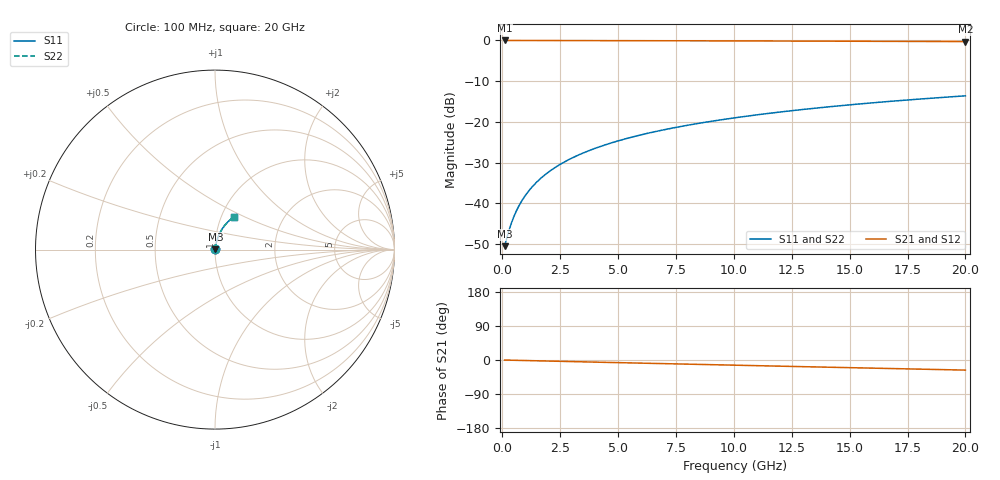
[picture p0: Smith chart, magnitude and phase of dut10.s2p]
! Touchstone file exported from HFSS 2026.1.0
!  File:  C:/ffzhzh/LocalFiles/Ansys_Project_Files/temp_val_TMRDL_10_1782902782_8056.aedt
!  Generated:  06:47:45 PM Jul  1, 2026
!  Design:  TMRDL
!  Project:  temp_val_TMRDL_10_1782902782_8056
! Variables:
!  h_bsmrdl = 2um
!  h_ox = 20um
!  h_rdl = 5um
!  h_sub = 80um
!  h_tmrdl = 5.09um
!  h_tsv = 80um
!  h_via = 3um
!  l_bsmrdl = 300um
!  l_sub = 825.01um
!  l_tmrdl = 425.01um
!  m_sub = 200um
!  pitch = 24.3um
!  r_tsv = 6um
!  s_tmrdl = 10um
!  w_bsmrdl = 18um
!  w_sub = 500um
!  w_tmrdl = 11.46um
!  x_tsv_center1 = 430.74um
!  x_tsv_center2 = 748.74um
!  x_tsv_center3 = 1185.21um
!  x_tsv_center4 = 1503.21um
!  x_tsv_center5 = 1939.68um
!  x_tsv_center6 = 2257.68um
# GHz S MA R 50.000000
! Terminal data exported
! Port[1] = TM_RDL1_1_T1
! Port[2] = TM_RDL1_1_T2
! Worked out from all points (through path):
!   200 points, 100 MHz to 20 GHz, reference 50 ohm
!   highest |S21| = -0.02 dB at 100 MHz (marker M1); lowest = -0.3 dB at 20 GHz (marker M2)
!   group delay of S21, straight-line fit = 3.69 ps
!   lowest |S11| = -50.5 dB at 100 MHz (marker M3), VSWR 1.01, Z = 50.3 + j0.133 ohm
!   |S11| at or under -10 dB: start of sweep to end of sweep
!   |S22| runs from -50.5 to -13.6 dB; largest |S21 - S12| = 4e-15
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0.1  0.002978 26.4  0.9973 -0.1  0.9973 -0.1  0.002978 26.4
! Gamma 0 0 0 0
! Port Impedance 50 0 50 0
0.3  0.004754 52.9  0.9971 -0.4  0.9971 -0.4  0.004755 52.9
0.4  0.005786 59.3  0.9971 -0.6  0.9971 -0.6  0.005788 59.3
0.5  0.00686 63.8  0.997 -0.7  0.997 -0.7  0.006862 63.8
0.6  0.007964 67.1  0.9969 -0.9  0.9969 -0.9  0.007965 67.1
0.7  0.009089 69.5  0.9969 -1.0  0.9969 -1.0  0.00909 69.5
0.9  0.01138 72.9  0.9967 -1.3  0.9967 -1.3  0.01138 72.9
1.2  0.01487 75.8  0.9966 -1.7  0.9966 -1.7  0.01487 75.8
1.4  0.01721 77.0  0.9965 -2.0  0.9965 -2.0  0.01721 76.9
1.7  0.02073 78.0  0.9963 -2.4  0.9963 -2.4  0.02072 78.0
2.2  0.02657 78.9  0.9959 -3.1  0.9959 -3.1  0.02657 78.8
2.8  0.03353 79.1  0.9953 -3.9  0.9953 -3.9  0.03353 79.1
3.5  0.04154 78.8  0.9946 -4.9  0.9946 -4.9  0.04154 78.8
4.2  0.04945 78.3  0.9937 -5.9  0.9937 -5.9  0.04945 78.3
5  0.05837 77.5  0.9927 -7.0  0.9927 -7.0  0.05837 77.5
5.9  0.06825 76.6  0.9915 -8.2  0.9915 -8.2  0.06825 76.6
6.8  0.07798 75.6  0.9902 -9.4  0.9902 -9.4  0.07798 75.6
8.3  0.09393 73.9  0.9879 -11.4  0.9879 -11.4  0.09393 73.9
10.1  0.1127 71.9  0.9851 -13.8  0.9851 -13.8  0.1127 71.8
13.4  0.146 68.0  0.9794 -18.1  0.9794 -18.1  0.146 68.0
16.7  0.178 64.1  0.9731 -22.4  0.9731 -22.4  0.178 64.0
20  0.2084 60.1  0.9662 -26.7  0.9662 -26.7  0.2085 60.1
